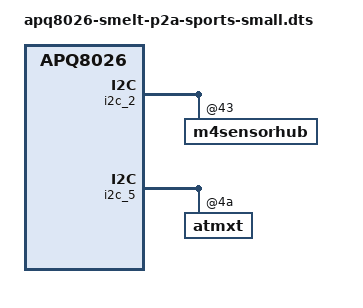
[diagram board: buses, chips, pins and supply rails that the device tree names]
/* Copyright (c) 2015, The Linux Foundation. All rights reserved.
 *
 * This program is free software; you can redistribute it and/or modify
 * it under the terms of the GNU General Public License version 2 and
 * only version 2 as published by the Free Software Foundation.
 *
 * This program is distributed in the hope that it will be useful,
 * but WITHOUT ANY WARRANTY; without even the implied warranty of
 * MERCHANTABILITY or FITNESS FOR A PARTICULAR PURPOSE.  See the
 * GNU General Public License for more details.
 */

/dts-v1/;

#include "apq8026-smelt-common.dtsi"
#include "apq8026-smelt-sports-small-tsl2584-config.dtsi"
#include "apq8026-smelt-panel-nt35355-small.dtsi"

/ {
	qcom,msm-id =
		<199 0x41 0x040A>; /* Sports Small P2A Portable */

	m4sensor {
		pressure {
			compatible = "mot,m4pressure";
		};
	};
};

&i2c_2 {
	m4sensorhub@43 {
		mot,pressure_enabled;
		/delete-property/ mot,diffuser_enabled;
	};
};

&i2c_5 {
	atmxt@4a {
		atmel,atmxt-tdat-filename = "atmxt-r3_hybrid.tdat";
	};
};
